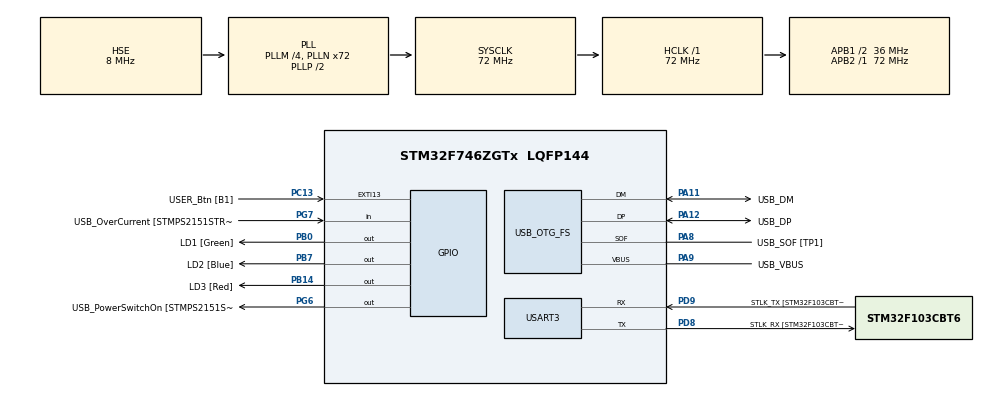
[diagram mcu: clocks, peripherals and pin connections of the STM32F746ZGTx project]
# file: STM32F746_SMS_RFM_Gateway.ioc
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FREERTOS.BinarySemaphores01=MsgHandlerSema,Dynamic,NULL;SmsHandlerSema,Dynamic,NULL;RadioHandlerSema,Dynamic,NULL
FREERTOS.Queues01=SendRadioQueue,16,uint8_t,0,Dynamic,NULL,NULL;Queue02,16,Data,0,Dynamic,NULL,NULL;ReceiveRadioQueue,16,uint8_t,0,Dynamic,NULL,NULL;SendSmsQueue,16,uint8_t,0,Dynamic,NULL,NULL;ReceiveSmsQueue,16,uint8_t,0,Dynamic,NULL,NULL;RawRxSmsQueue,16,uint8_t,0,Dynamic,NULL,NULL
FREERTOS.Tasks01=defaultTask,24,128,StartDefaultTask,Default,NULL,Dynamic,NULL,NULL;SendRadio,24,128,StartSendRadio,Default,NULL,Dynamic,NULL,NULL;ReceiveRadio,32,128,StartReceiveRadio,Default,NULL,Dynamic,NULL,NULL;SendSms,8,128,StartSendSms,Default,NULL,Dynamic,NULL,NULL;ReceiveSms,8,128,StartReceiveSms,Default,NULL,Dynamic,NULL,NULL
FREERTOS.Timers01=TimerScanKeypad,CallbackScanKeypad,osTimerPeriodic,Default,NULL,Dynamic,NULL
FREERTOS.configUSE_PREEMPTION=0
Mcu.Family=STM32F7
Mcu.Name=STM32F746ZGTx
Mcu.Package=LQFP144
NVIC.PriorityGroup=NVIC_PRIORITYGROUP_4
NVIC.TIM7_IRQn=true\:0\:0\:false\:false\:true\:false\:false\:true
NVIC.TimeBase=TIM7_IRQn
NVIC.TimeBaseIP=TIM7
NVIC.USART3_IRQn=true\:5\:0\:false\:false\:true\:true\:true\:true
PA1.GPIO_Label=RMII_REF_CLK [LAN8742A-CZ-TR_REFCLK0]
PA1.Signal=ETH_REF_CLK
PA10.GPIO_Label=USB_ID
PA10.Signal=USB_OTG_FS_ID
PA11.GPIO_Label=USB_DM
PA11.Mode=Device_Only
PA11.Signal=USB_OTG_FS_DM
PA12.GPIO_Label=USB_DP
PA12.Mode=Device_Only
PA12.Signal=USB_OTG_FS_DP
PA13.GPIO_Label=TMS
PA13.Mode=Serial_Wire
PA13.Signal=SYS_JTMS-SWDIO
PA14.GPIO_Label=TCK
PA14.Mode=Serial_Wire
PA14.Signal=SYS_JTCK-SWCLK
PA2.GPIO_Label=RMII_MDIO [LAN8742A-CZ-TR_MDIO]
PA2.Signal=ETH_MDIO
PA7.GPIO_Label=RMII_CRS_DV [LAN8742A-CZ-TR_CRS_DV]
PA7.Signal=ETH_CRS_DV
PA8.GPIO_Label=USB_SOF [TP1]
PA8.Mode=Activate_SOF_FS
PA8.Signal=USB_OTG_FS_SOF
PA9.GPIO_Label=USB_VBUS
PA9.Mode=Activate_VBUS
PA9.Signal=USB_OTG_FS_VBUS
PB0.GPIO_Label=LD1 [Green]
PB0.Signal=GPIO_Output
PB13.GPIO_Label=RMII_TXD1 [LAN8742A-CZ-TR_TXD1]
PB13.Signal=ETH_TXD1
PB14.GPIO_Label=LD3 [Red]
PB14.Signal=GPIO_Output
PB3.GPIO_Label=SW0
PB3.Signal=SYS_JTDO-SWO
PB7.GPIO_Label=LD2 [Blue]
PB7.Signal=GPIO_Output
PC1.GPIO_Label=RMII_MDC [LAN8742A-CZ-TR_MDC]
PC1.Signal=ETH_MDC
PC13.GPIO_Label=USER_Btn [B1]
PC13.Signal=GPXTI13
PC14/OSC32_IN.Mode=LSE-External-Oscillator
PC14/OSC32_IN.Signal=RCC_OSC32_IN
PC15/OSC32_OUT.Mode=LSE-External-Oscillator
PC15/OSC32_OUT.Signal=RCC_OSC32_OUT
PC4.GPIO_Label=RMII_RXD0 [LAN8742A-CZ-TR_RXD0]
PC4.Signal=ETH_RXD0
PC5.GPIO_Label=RMII_RXD1 [LAN8742A-CZ-TR_RXD1]
PC5.Signal=ETH_RXD1
PD8.GPIO_Label=STLK_RX [STM32F103CBT6_PA3]
PD8.Mode=Asynchronous
PD8.Signal=USART3_TX
PD9.GPIO_Label=STLK_TX [STM32F103CBT6_PA2]
PD9.Mode=Asynchronous
PD9.Signal=USART3_RX
PG11.GPIO_Label=RMII_TX_EN [LAN8742A-CZ-TR_TXEN]
PG11.Signal=ETH_TX_EN
PG13.GPIO_Label=RMII_TXD0 [LAN8742A-CZ-TR_TXD0]
PG13.Signal=ETH_TXD0
PG6.GPIO_Label=USB_PowerSwitchOn [STMPS2151STR_EN]
PG6.Signal=GPIO_Output
PG7.GPIO_Label=USB_OverCurrent [STMPS2151STR_FAULT]
PG7.Signal=GPIO_Input
PH0/OSC_IN.GPIO_Label=MCO [STM32F103CBT6_PA8]
PH0/OSC_IN.Mode=HSE-External-Clock-Source
PH0/OSC_IN.Signal=RCC_OSC_IN
PH1/OSC_OUT.Mode=HSE-External-Clock-Source
PH1/OSC_OUT.Signal=RCC_OSC_OUT
ProjectManager.HeapSize=0x200
ProjectManager.StackSize=0x400
ProjectManager.TargetToolchain=STM32CubeIDE
RCC.48MHZClocksFreq_Value=24000000
RCC.AHBFreq_Value=72000000
RCC.APB1CLKDivider=RCC_HCLK_DIV2
RCC.APB1Freq_Value=36000000
RCC.APB1TimFreq_Value=72000000
RCC.APB2Freq_Value=72000000
RCC.APB2TimFreq_Value=72000000
RCC.CortexFreq_Value=72000000
RCC.HCLKFreq_Value=72000000
RCC.HSE_VALUE=8000000
RCC.HSI_VALUE=16000000
RCC.PLLM=4
RCC.PLLMUL=RCC_PLL_MUL9
RCC.PLLN=72
RCC.PLLQ=3
RCC.PRESCALERUSB=RCC_USBCLKSOURCE_PLL_DIV1_5
RCC.SYSCLKFreq_VALUE=72000000
RCC.SYSCLKSource=RCC_SYSCLKSOURCE_PLLCLK
RCC.SYSCLKSourceVirtual=RCC_SYSCLKSOURCE_PLLCLK
RCC.USBFreq_Value=48000000
RCC.VCOOutputFreq_Value=144000000
USART3.VirtualMode-Asynchronous=VM_ASYNC
USB_OTG_FS.VirtualMode=Device_Only
VP_FREERTOS_VS_CMSIS_V2.Mode=CMSIS_V2
VP_SYS_VS_tim7.Mode=TIM7
board=NUCLEO-F746ZG

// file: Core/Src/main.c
/* USER CODE BEGIN Header */
/**
  ******************************************************************************
  * @file           : main.c
  * @brief          : Main program body
  ******************************************************************************
  * @attention
  *
  * <h2><center>&copy; Copyright (c) 2021 STMicroelectronics.
  * All rights reserved.</center></h2>
  *
  * This software component is licensed by ST under BSD 3-Clause license,
  * the "License"; You may not use this file except in compliance with the
  * License. You may obtain a copy of the License at:
  *                        opensource.org/licenses/BSD-3-Clause
  *
  ******************************************************************************
  */
/* USER CODE END Header */
#include "main.h"
#include "cmsis_os.h"

/* USER CODE BEGIN Includes */
#include "stdio.h"
#include <stdio.h>
#include <string.h>
#include "console.h"
#include "msg.h"
/* USER CODE END Includes */

UART_HandleTypeDef huart3;

PCD_HandleTypeDef hpcd_USB_OTG_FS;

/* Definitions for defaultTask */
osThreadId_t defaultTaskHandle;
const osThreadAttr_t defaultTask_attributes = {
  .name = "defaultTask",
  .priority = (osPriority_t) osPriorityNormal,
  .stack_size = 128 * 4
};
/* Definitions for SendRadio */
osThreadId_t SendRadioHandle;
const osThreadAttr_t SendRadio_attributes = {
  .name = "SendRadio",
  .priority = (osPriority_t) osPriorityNormal,
  .stack_size = 128 * 4
};
/* Definitions for ReceiveRadio */
osThreadId_t ReceiveRadioHandle;
const osThreadAttr_t ReceiveRadio_attributes = {
  .name = "ReceiveRadio",
  .priority = (osPriority_t) osPriorityAboveNormal,
  .stack_size = 128 * 4
};
/* Definitions for SendSms */
osThreadId_t SendSmsHandle;
const osThreadAttr_t SendSms_attributes = {
  .name = "SendSms",
  .priority = (osPriority_t) osPriorityLow,
  .stack_size = 128 * 4
};
/* Definitions for ReceiveSms */
osThreadId_t ReceiveSmsHandle;
const osThreadAttr_t ReceiveSms_attributes = {
  .name = "ReceiveSms",
  .priority = (osPriority_t) osPriorityLow,
  .stack_size = 128 * 4
};
/* Definitions for SendRadioQueue */
osMessageQueueId_t SendRadioQueueHandle;
const osMessageQueueAttr_t SendRadioQueue_attributes = {
  .name = "SendRadioQueue"
};
/* Definitions for Queue02 */
osMessageQueueId_t Queue02Handle;
const osMessageQueueAttr_t Queue02_attributes = {
  .name = "Queue02"
};
/* Definitions for ReceiveRadioQueue */
osMessageQueueId_t ReceiveRadioQueueHandle;
const osMessageQueueAttr_t ReceiveRadioQueue_attributes = {
  .name = "ReceiveRadioQueue"
};
/* Definitions for SendSmsQueue */
osMessageQueueId_t SendSmsQueueHandle;
const osMessageQueueAttr_t SendSmsQueue_attributes = {
  .name = "SendSmsQueue"
};
/* Definitions for ReceiveSmsQueue */
osMessageQueueId_t ReceiveSmsQueueHandle;
const osMessageQueueAttr_t ReceiveSmsQueue_attributes = {
  .name = "ReceiveSmsQueue"
};
/* Definitions for RawRxSmsQueue */
osMessageQueueId_t RawRxSmsQueueHandle;
const osMessageQueueAttr_t RawRxSmsQueue_attributes = {
  .name = "RawRxSmsQueue"
};
/* Definitions for TimerScanKeypad */
osTimerId_t TimerScanKeypadHandle;
const osTimerAttr_t TimerScanKeypad_attributes = {
  .name = "TimerScanKeypad"
};
/* Definitions for MsgHandlerSema */
osSemaphoreId_t MsgHandlerSemaHandle;
const osSemaphoreAttr_t MsgHandlerSema_attributes = {
  .name = "MsgHandlerSema"
};
/* Definitions for SmsHandlerSema */
osSemaphoreId_t SmsHandlerSemaHandle;
const osSemaphoreAttr_t SmsHandlerSema_attributes = {
  .name = "SmsHandlerSema"
};
/* Definitions for RadioHandlerSema */
osSemaphoreId_t RadioHandlerSemaHandle;
const osSemaphoreAttr_t RadioHandlerSema_attributes = {
  .name = "RadioHandlerSema"
};
/* USER CODE BEGIN PV */
typedef struct{
	uint16_t Value;
	uint8_t  Source;
} Data;

Data DataToSend1={0x2018,1};
Data DataToSend2={0x2019,2};

/* USER CODE END PV */

void SystemClock_Config(void);
static void MX_GPIO_Init(void);
static void MX_USART3_UART_Init(void);
static void MX_USB_OTG_FS_PCD_Init(void);
void StartDefaultTask(void *argument);
void StartSendRadio(void *argument);
void StartReceiveRadio(void *argument);
void StartSendSms(void *argument);
void StartReceiveSms(void *argument);
void CallbackScanKeypad(void *argument);

int main(void)
{

  /* MCU Configuration--------------------------------------------------------*/

  /* Reset of all peripherals, Initializes the Flash interface and the Systick. */
  HAL_Init();

  /* Configure the system clock */
  SystemClock_Config();

  /* Initialize all configured peripherals */
  MX_GPIO_Init();
  MX_USART3_UART_Init();
  MX_USB_OTG_FS_PCD_Init();
  /* USER CODE BEGIN 2 */

  msg_initialize();
  //uint8_t cbuf[32];
  //uint8_t *pdata = cbuf;
  //HAL_StatusTypeDef uart_status;

  /*
  ConsoleInitialize(&huart3);
  ConsoleWr(development, "https://github.com/infrapale/STM32F746_SMS_RFM_Gateway", 1);
  ConsoleWrDec(development, "Elaman tarkoitus on ", 42 ,".", 1);

  ConsoleWrDec(development, "Free messages= ", msg_free_rows(),".", 1);
  ConsoleRdLn(pdata, 10 );
  ConsoleWr(development, (char *)pdata, 1U);

  uart_status = ConsoleRdChar( pdata );
  if (uart_status == HAL_OK) {
      ConsoleWrChar(development, cbuf[0]);
  }
  else {
	  ConsoleWrDec(development, "HAL status", uart_status ,"!", 1);

  }
  */

  /* USER CODE END 2 */

  /* Init scheduler */
  osKernelInitialize();

  /* Create the semaphores(s) */
  /* creation of MsgHandlerSema */
  MsgHandlerSemaHandle = osSemaphoreNew(1, 1, &MsgHandlerSema_attributes);

  /* creation of SmsHandlerSema */
  SmsHandlerSemaHandle = osSemaphoreNew(1, 1, &SmsHandlerSema_attributes);

  /* creation of RadioHandlerSema */
  RadioHandlerSemaHandle = osSemaphoreNew(1, 1, &RadioHandlerSema_attributes);

  /* Create the timer(s) */
  /* creation of TimerScanKeypad */
  TimerScanKeypadHandle = osTimerNew(CallbackScanKeypad, osTimerPeriodic, NULL, &TimerScanKeypad_attributes);

  /* Create the queue(s) */
  /* creation of SendRadioQueue */
  SendRadioQueueHandle = osMessageQueueNew (16, sizeof(uint8_t), &SendRadioQueue_attributes);

  /* creation of Queue02 */
  Queue02Handle = osMessageQueueNew (16, sizeof(Data), &Queue02_attributes);

  /* creation of ReceiveRadioQueue */
  ReceiveRadioQueueHandle = osMessageQueueNew (16, sizeof(uint8_t), &ReceiveRadioQueue_attributes);

  /* creation of SendSmsQueue */
  SendSmsQueueHandle = osMessageQueueNew (16, sizeof(uint8_t), &SendSmsQueue_attributes);

  /* creation of ReceiveSmsQueue */
  ReceiveSmsQueueHandle = osMessageQueueNew (16, sizeof(uint8_t), &ReceiveSmsQueue_attributes);

  /* creation of RawRxSmsQueue */
  RawRxSmsQueueHandle = osMessageQueueNew (16, sizeof(uint8_t), &RawRxSmsQueue_attributes);

  /* Create the thread(s) */
  /* creation of defaultTask */
  defaultTaskHandle = osThreadNew(StartDefaultTask, NULL, &defaultTask_attributes);

  /* creation of SendRadio */
  SendRadioHandle = osThreadNew(StartSendRadio, NULL, &SendRadio_attributes);

  /* creation of ReceiveRadio */
  ReceiveRadioHandle = osThreadNew(StartReceiveRadio, NULL, &ReceiveRadio_attributes);

  /* creation of SendSms */
  SendSmsHandle = osThreadNew(StartSendSms, NULL, &SendSms_attributes);

  /* creation of ReceiveSms */
  ReceiveSmsHandle = osThreadNew(StartReceiveSms, NULL, &ReceiveSms_attributes);

  /* Start scheduler */
  osKernelStart();

  /* We should never get here as control is now taken by the scheduler */
  /* Infinite loop */
  while (1)
  {

  }
}

void SystemClock_Config(void)
{
  RCC_OscInitTypeDef RCC_OscInitStruct = {0};
  RCC_ClkInitTypeDef RCC_ClkInitStruct = {0};
  RCC_PeriphCLKInitTypeDef PeriphClkInitStruct = {0};

  /** Configure LSE Drive Capability
  */
  HAL_PWR_EnableBkUpAccess();
  /** Configure the main internal regulator output voltage
  */
  __HAL_RCC_PWR_CLK_ENABLE();
  __HAL_PWR_VOLTAGESCALING_CONFIG(PWR_REGULATOR_VOLTAGE_SCALE3);
  /** Initializes the RCC Oscillators according to the specified parameters
  * in the RCC_OscInitTypeDef structure.
  */
  RCC_OscInitStruct.OscillatorType = RCC_OSCILLATORTYPE_HSE;
  RCC_OscInitStruct.HSEState = RCC_HSE_BYPASS;
  RCC_OscInitStruct.PLL.PLLState = RCC_PLL_ON;
  RCC_OscInitStruct.PLL.PLLSource = RCC_PLLSOURCE_HSE;
  RCC_OscInitStruct.PLL.PLLM = 4;
  RCC_OscInitStruct.PLL.PLLN = 72;
  RCC_OscInitStruct.PLL.PLLP = RCC_PLLP_DIV2;
  RCC_OscInitStruct.PLL.PLLQ = 3;
  if (HAL_RCC_OscConfig(&RCC_OscInitStruct) != HAL_OK)
  {
    Error_Handler();
  }
  /** Initializes the CPU, AHB and APB buses clocks
  */
  RCC_ClkInitStruct.ClockType = RCC_CLOCKTYPE_HCLK|RCC_CLOCKTYPE_SYSCLK
                              |RCC_CLOCKTYPE_PCLK1|RCC_CLOCKTYPE_PCLK2;
  RCC_ClkInitStruct.SYSCLKSource = RCC_SYSCLKSOURCE_PLLCLK;
  RCC_ClkInitStruct.AHBCLKDivider = RCC_SYSCLK_DIV1;
  RCC_ClkInitStruct.APB1CLKDivider = RCC_HCLK_DIV2;
  RCC_ClkInitStruct.APB2CLKDivider = RCC_HCLK_DIV1;

  if (HAL_RCC_ClockConfig(&RCC_ClkInitStruct, FLASH_LATENCY_2) != HAL_OK)
  {
    Error_Handler();
  }
  PeriphClkInitStruct.PeriphClockSelection = RCC_PERIPHCLK_USART3|RCC_PERIPHCLK_CLK48;
  PeriphClkInitStruct.Usart3ClockSelection = RCC_USART3CLKSOURCE_PCLK1;
  PeriphClkInitStruct.Clk48ClockSelection = RCC_CLK48SOURCE_PLL;
  if (HAL_RCCEx_PeriphCLKConfig(&PeriphClkInitStruct) != HAL_OK)
  {
    Error_Handler();
  }
}

static void MX_USART3_UART_Init(void)
{

  /* USER CODE BEGIN USART3_Init 0 */
  HAL_GPIO_TogglePin(LD1_GPIO_Port, LD1_Pin);

  /* USER CODE END USART3_Init 0 */

  /* USER CODE BEGIN USART3_Init 1 */
  SET_BIT(huart3.Instance->CR1, USART_CR1_RXNEIE);
  /* USER CODE END USART3_Init 1 */
  huart3.Instance = USART3;
  huart3.Init.BaudRate = 115200;
  huart3.Init.WordLength = UART_WORDLENGTH_8B;
  huart3.Init.StopBits = UART_STOPBITS_1;
  huart3.Init.Parity = UART_PARITY_NONE;
  huart3.Init.Mode = UART_MODE_TX_RX;
  huart3.Init.HwFlowCtl = UART_HWCONTROL_NONE;
  huart3.Init.OverSampling = UART_OVERSAMPLING_16;
  huart3.Init.OneBitSampling = UART_ONE_BIT_SAMPLE_DISABLE;
  huart3.AdvancedInit.AdvFeatureInit = UART_ADVFEATURE_NO_INIT;
  if (HAL_UART_Init(&huart3) != HAL_OK)
  {
    Error_Handler();
  }
  /* USER CODE BEGIN USART3_Init 2 */
  //HAL_GPIO_TogglePin(LD1_GPIO_Port, LD1_Pin);
  /* Disable the UART Parity Error Interrupt and RXNE interrupts */
  SET_BIT(huart3.Instance->CR1, USART_CR1_RXNEIE);
  //SET_BIT(huart3.Instance->CR1, USART_CR1_PEIE);

  /* USER CODE END USART3_Init 2 */

}

static void MX_USB_OTG_FS_PCD_Init(void)
{

  hpcd_USB_OTG_FS.Instance = USB_OTG_FS;
  hpcd_USB_OTG_FS.Init.dev_endpoints = 6;
  hpcd_USB_OTG_FS.Init.speed = PCD_SPEED_FULL;
  hpcd_USB_OTG_FS.Init.dma_enable = DISABLE;
  hpcd_USB_OTG_FS.Init.phy_itface = PCD_PHY_EMBEDDED;
  hpcd_USB_OTG_FS.Init.Sof_enable = ENABLE;
  hpcd_USB_OTG_FS.Init.low_power_enable = DISABLE;
  hpcd_USB_OTG_FS.Init.lpm_enable = DISABLE;
  hpcd_USB_OTG_FS.Init.vbus_sensing_enable = ENABLE;
  hpcd_USB_OTG_FS.Init.use_dedicated_ep1 = DISABLE;
  if (HAL_PCD_Init(&hpcd_USB_OTG_FS) != HAL_OK)
  {
    Error_Handler();
  }

}

static void MX_GPIO_Init(void)
{
  GPIO_InitTypeDef GPIO_InitStruct = {0};

  /* GPIO Ports Clock Enable */
  __HAL_RCC_GPIOC_CLK_ENABLE();
  __HAL_RCC_GPIOH_CLK_ENABLE();
  __HAL_RCC_GPIOA_CLK_ENABLE();
  __HAL_RCC_GPIOB_CLK_ENABLE();
  __HAL_RCC_GPIOD_CLK_ENABLE();
  __HAL_RCC_GPIOG_CLK_ENABLE();

  /*Configure GPIO pin Output Level */
  HAL_GPIO_WritePin(GPIOB, LD1_Pin|LD3_Pin|LD2_Pin, GPIO_PIN_RESET);

  /*Configure GPIO pin Output Level */
  HAL_GPIO_WritePin(USB_PowerSwitchOn_GPIO_Port, USB_PowerSwitchOn_Pin, GPIO_PIN_RESET);

  /*Configure GPIO pin : USER_Btn_Pin */
  GPIO_InitStruct.Pin = USER_Btn_Pin;
  GPIO_InitStruct.Mode = GPIO_MODE_IT_RISING;
  GPIO_InitStruct.Pull = GPIO_NOPULL;
  HAL_GPIO_Init(USER_Btn_GPIO_Port, &GPIO_InitStruct);

  /*Configure GPIO pins : RMII_MDC_Pin RMII_RXD0_Pin RMII_RXD1_Pin */
  GPIO_InitStruct.Pin = RMII_MDC_Pin|RMII_RXD0_Pin|RMII_RXD1_Pin;
  GPIO_InitStruct.Mode = GPIO_MODE_AF_PP;
  GPIO_InitStruct.Pull = GPIO_NOPULL;
  GPIO_InitStruct.Speed = GPIO_SPEED_FREQ_VERY_HIGH;
  GPIO_InitStruct.Alternate = GPIO_AF11_ETH;
  HAL_GPIO_Init(GPIOC, &GPIO_InitStruct);

  /*Configure GPIO pins : RMII_REF_CLK_Pin RMII_MDIO_Pin RMII_CRS_DV_Pin */
  GPIO_InitStruct.Pin = RMII_REF_CLK_Pin|RMII_MDIO_Pin|RMII_CRS_DV_Pin;
  GPIO_InitStruct.Mode = GPIO_MODE_AF_PP;
  GPIO_InitStruct.Pull = GPIO_NOPULL;
  GPIO_InitStruct.Speed = GPIO_SPEED_FREQ_VERY_HIGH;
  GPIO_InitStruct.Alternate = GPIO_AF11_ETH;
  HAL_GPIO_Init(GPIOA, &GPIO_InitStruct);

  /*Configure GPIO pins : LD1_Pin LD3_Pin LD2_Pin */
  GPIO_InitStruct.Pin = LD1_Pin|LD3_Pin|LD2_Pin;
  GPIO_InitStruct.Mode = GPIO_MODE_OUTPUT_PP;
  GPIO_InitStruct.Pull = GPIO_NOPULL;
  GPIO_InitStruct.Speed = GPIO_SPEED_FREQ_LOW;
  HAL_GPIO_Init(GPIOB, &GPIO_InitStruct);

  /*Configure GPIO pin : RMII_TXD1_Pin */
  GPIO_InitStruct.Pin = RMII_TXD1_Pin;
  GPIO_InitStruct.Mode = GPIO_MODE_AF_PP;
  GPIO_InitStruct.Pull = GPIO_NOPULL;
  GPIO_InitStruct.Speed = GPIO_SPEED_FREQ_VERY_HIGH;
  GPIO_InitStruct.Alternate = GPIO_AF11_ETH;
  HAL_GPIO_Init(RMII_TXD1_GPIO_Port, &GPIO_InitStruct);

  /*Configure GPIO pin : USB_PowerSwitchOn_Pin */
  GPIO_InitStruct.Pin = USB_PowerSwitchOn_Pin;
  GPIO_InitStruct.Mode = GPIO_MODE_OUTPUT_PP;
  GPIO_InitStruct.Pull = GPIO_NOPULL;
  GPIO_InitStruct.Speed = GPIO_SPEED_FREQ_LOW;
  HAL_GPIO_Init(USB_PowerSwitchOn_GPIO_Port, &GPIO_InitStruct);

  /*Configure GPIO pin : USB_OverCurrent_Pin */
  GPIO_InitStruct.Pin = USB_OverCurrent_Pin;
  GPIO_InitStruct.Mode = GPIO_MODE_INPUT;
  GPIO_InitStruct.Pull = GPIO_NOPULL;
  HAL_GPIO_Init(USB_OverCurrent_GPIO_Port, &GPIO_InitStruct);

  /*Configure GPIO pins : RMII_TX_EN_Pin RMII_TXD0_Pin */
  GPIO_InitStruct.Pin = RMII_TX_EN_Pin|RMII_TXD0_Pin;
  GPIO_InitStruct.Mode = GPIO_MODE_AF_PP;
  GPIO_InitStruct.Pull = GPIO_NOPULL;
  GPIO_InitStruct.Speed = GPIO_SPEED_FREQ_VERY_HIGH;
  GPIO_InitStruct.Alternate = GPIO_AF11_ETH;
  HAL_GPIO_Init(GPIOG, &GPIO_InitStruct);

}

/* USER CODE BEGIN 4 */
void AddSmsRxToQueue(uint8_t rx_c){
	osMessagePut(RawRxSmsQueueHandle,rx_c,200);

}

/* USER CODE END 4 */

void StartDefaultTask(void *argument)
{
  /* USER CODE BEGIN 5 */
  osTimerStart(TimerScanKeypadHandle,100);
  /* Infinite loop */
  for(;;)
  {
    osDelay(1);
  }
  /* USER CODE END 5 */
}

void StartSendRadio(void *argument)
{
  for(;;)
  {
    osDelay(1);
  }
}

void StartReceiveRadio(void *argument)
{
  /* USER CODE BEGIN StartReceiveRadio */
  uint8_t  rx_buf[ MAX_MSG_LEN];
  memset(rx_buf,0x00,sizeof(rx_buf));
  /* Infinite loop */
  for(;;)
  {

      osDelay(1);
  }
  /* USER CODE END StartReceiveRadio */
}

void StartSendSms(void *argument)
{
  for(;;)
  {
    osDelay(1);
  }
}

void StartReceiveSms(void *argument)
{
  /* USER CODE BEGIN StartReceiveSms */
    uint8_t  sms_in_buf[ MAX_MSG_LEN];
    uint8_t  c;
    //HAL_StatusTypeDef uart_status;

    //ConsoleWr(development, "StartReceiveSms", 1);
	memset(sms_in_buf,0x00,sizeof(sms_in_buf));

	/* Infinite loop */
	for(;;)
	{
	c = (uint8_t)osMessageGet(RawRxSmsQueueHandle,10);
		/*
	    uart_status = HAL_UART_Receive(&huart3, sms_in_buf, 1, 0);
	    switch (uart_status){
	    case HAL_OK:
	    	ConsoleWrChar(application,  sms_in_buf[0]);
	    	break;
	    case  HAL_ERROR:
	    	ConsoleWr(development, "HAL_ERROR", 1);
	    	break;
	    case  HAL_BUSY:
	    	ConsoleWr(development, "HAL_BUSY", 1);
	    	break;
	    case  HAL_TIMEOUT:
	    	break;
	    }

 	    osDelay(1);
 	    */
	}
  /* USER CODE END StartReceiveSms */
}

/* CallbackScanKeypad function */
void CallbackScanKeypad(void *argument)
{
}

 /**
  * @brief  Period elapsed callback in non blocking mode
  * @note   This function is called  when TIM7 interrupt took place, inside
  * HAL_TIM_IRQHandler(). It makes a direct call to HAL_IncTick() to increment
  * a global variable "uwTick" used as application time base.
  * @param  htim : TIM handle
  * @retval None
  */
void HAL_TIM_PeriodElapsedCallback(TIM_HandleTypeDef *htim)
{
  if (htim->Instance == TIM7) {
    HAL_IncTick();
  }
}

void Error_Handler(void)
{
  __disable_irq();
  while (1)
  {
  }
}

/************************ (C) COPYRIGHT STMicroelectronics *****END OF FILE****/
